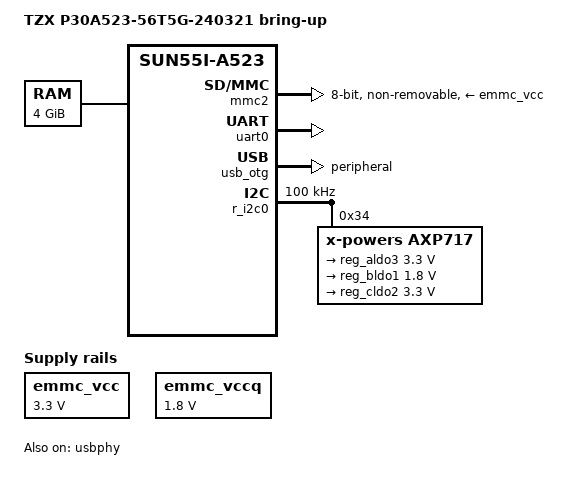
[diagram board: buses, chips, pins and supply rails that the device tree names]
// SPDX-License-Identifier: (GPL-2.0-only OR MIT)
/dts-v1/;
#include "sun55i-a523.dtsi"
#include <dt-bindings/gpio/gpio.h>

/ {
    model = "TZX P30A523-56T5G-240321 bring-up";
    compatible = "tzx,p30a523", "allwinner,sun55i-a523";
    aliases {
        serial0 = &uart0;
        mmc0 = &mmc2;
        i2c0 = &r_i2c0;
    };
    chosen {
        stdout-path = "serial0:115200n8";
        bootargs = "console=tty0 console=ttyS0,115200 earlycon=uart8250,mmio32,0x02500000,115200 loglevel=8 ignore_loglevel clk_ignore_unused regulator_ignore_unused rdinit=/init panic=5";
        linux,initrd-start = <0x0 0x60000000>;
        linux,initrd-end = <0x0 0x61000000>;
    };
    /* 4096 MiB reported by training; the ARM64 entry verified distinct
     * addresses at all sixteen 256-MiB boundaries on this board. */
    memory@40000000 {
        device_type = "memory";
        reg = <0x0 0x40000000 0x1 0x00000000>;
    };
    reserved-memory {
        #address-cells = <2>;
        #size-cells = <2>;
        ranges;
        ramoops@43000000 {
            compatible = "ramoops";
            reg = <0x0 0x43000000 0x0 0x100000>;
            record-size = <0x20000>;
            console-size = <0x80000>;
            pmsg-size = <0x20000>;
        };
    };
    /* Fixed descriptions of the currently powered eMMC rails. These nodes
     * have no GPIO/PMIC control and do not alter the existing rail settings. */
    emmc_vcc: regulator-emmc-vcc {
        compatible = "regulator-fixed";
        regulator-name = "emmc-vcc";
        regulator-min-microvolt = <3300000>;
        regulator-max-microvolt = <3300000>;
        regulator-always-on;
    };
    emmc_vccq: regulator-emmc-vccq {
        compatible = "regulator-fixed";
        regulator-name = "emmc-vccq";
        regulator-min-microvolt = <1800000>;
        regulator-max-microvolt = <1800000>;
        regulator-always-on;
    };
    /* Hardware I2C reads work, but writes currently report bus errors.
     * Use the same verified PH0/PH1 wires through the GPIO I2C algorithm. */


};

&mmc2 {
    status = "okay";
    bus-width = <8>;
    max-frequency = <25000000>;
    non-removable;
    disable-wp;
    vmmc-supply = <&emmc_vcc>;
    vqmmc-supply = <&emmc_vccq>;
};

&pio {
    vcc-pc-supply = <&emmc_vccq>;
    vcc-pg-supply = <&reg_bldo1>;
    vcc-ph-supply = <&emmc_vcc>;

    touch_i2c_pins: i2c0-ph-pins {
        pins = "PH0", "PH1";
        function = "i2c0";
        allwinner,pinmux = <2>;
        drive-strength = <10>;
        bias-pull-up;
    };
};

/* Expose the standard tablet touch bus for targeted identification reads.
 * No touch controller or reset GPIO is claimed until the board is verified. */
&i2c0 {
    status = "disabled";
    clock-frequency = <100000>;
    pinctrl-names = "default";
    pinctrl-0 = <&touch_i2c_pins>;
    /delete-property/ dmas;
    /delete-property/ dma-names;
};

/* Keep polling while verifying the radio startup sequence. */


&uart0 { status = "okay"; };

&usb_otg {
    status = "okay";
    dr_mode = "peripheral";
};

&usbphy { status = "okay"; };

/* Preserve unspecified rail settings; claim only the tested peripheral rails. */
&r_i2c0 {
    status = "okay";
    clock-frequency = <100000>;
    /delete-property/ dmas;
    /delete-property/ dma-names;
    axp717: pmic@34 {
        compatible = "x-powers,axp717";
        reg = <0x34>;
        interrupt-controller;
        #interrupt-cells = <1>;
        interrupt-parent = <&nmi_intc>;
        interrupts = <0 IRQ_TYPE_LEVEL_LOW>;
        regulators {
            reg_aldo3: aldo3 {
                regulator-name = "wifi-vcc";
                regulator-min-microvolt = <3300000>;
                regulator-max-microvolt = <3300000>;
            };
            reg_bldo1: bldo1 {
                regulator-name = "wifi-vcc-io-pg";
                regulator-min-microvolt = <1800000>;
                regulator-max-microvolt = <1800000>;
            };
            /* Confirmed by the chip ID appearing when enabled. */
            reg_cldo2: cldo2 {
                regulator-name = "touch-vcc";
                regulator-min-microvolt = <3300000>;
                regulator-max-microvolt = <3300000>;
                regulator-always-on;
            };
        };
    };
};
